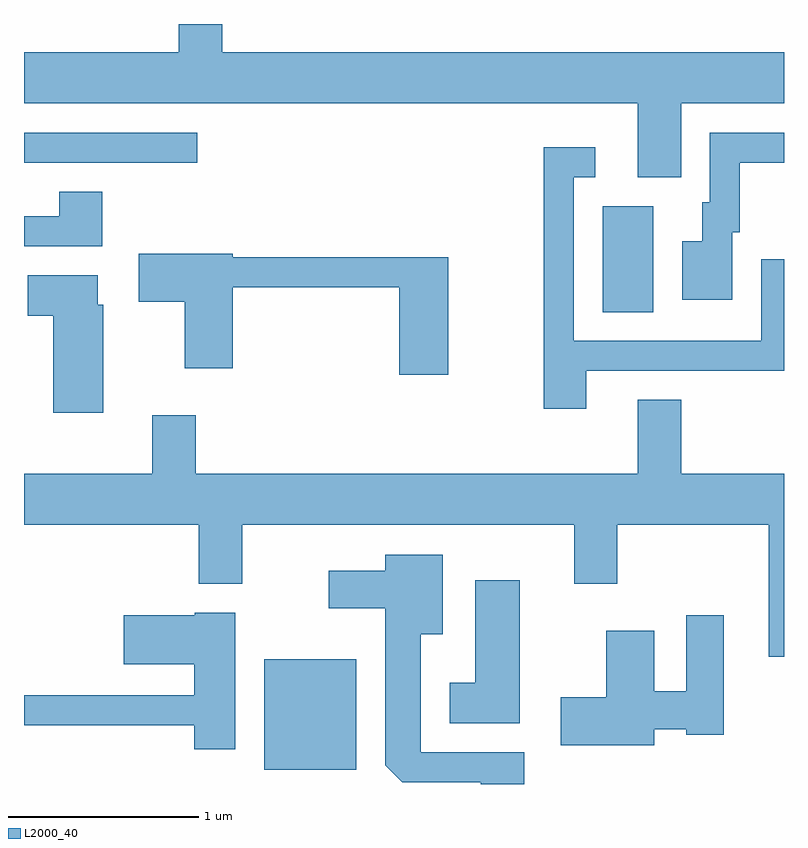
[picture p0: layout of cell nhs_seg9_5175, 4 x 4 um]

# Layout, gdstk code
import gdstk
lib = gdstk.Library(unit=1e-6, precision=1e-09)
def R(c, l, rs):  # rectangles x0, y0, x1, y1
    for r in rs: c.add(gdstk.rectangle(r[:2], r[2:], *l))
def P(c, l, *ps):  # polygons
    for p in ps: c.add(gdstk.Polygon(p, *l))
L2000_40 = (2000, 40)

nhs_seg9_5175 = lib.new_cell('nhs_seg9_5175')
R(nhs_seg9_5175, L2000_40, [(338.876,2010.506,339.359,2011.089), (340.656,2012.916,340.924,2013.474), (337.611,2013.701,338.523,2013.859)])
P(nhs_seg9_5175, L2000_40, [(341.069,2014.016),(341.611,2014.016),(341.611,2014.284),(338.654,2014.284),(338.654,2014.432),(338.426,2014.432),(338.426,2014.284),(337.611,2014.284),(337.611,2014.016),(340.841,2014.016),(340.841,2013.626),(341.069,2013.626)],
  [(341.339,2013.336),(341.379,2013.336),(341.379,2013.701),(341.611,2013.701),(341.611,2013.859),(341.221,2013.859),(341.221,2013.494),(341.181,2013.494),(341.181,2013.289),(341.076,2013.289),(341.076,2012.981),(341.339,2012.981)],
  [(340.569,2012.606),(341.611,2012.606),(341.611,2013.193),(341.491,2013.193),(341.491,2012.764),(340.504,2012.764),(340.504,2013.626),(340.618,2013.626),(340.618,2013.784),(340.346,2013.784),(340.346,2012.406),(340.569,2012.406)],
  [(338.024,2013.549),(337.796,2013.549),(337.796,2013.419),(337.611,2013.419),(337.611,2013.261),(338.024,2013.261)],
  [(339.844,2013.204),(338.709,2013.204),(338.709,2013.224),(338.216,2013.224),(338.216,2012.971),(338.456,2012.971),(338.456,2012.621),(338.709,2012.621),(338.709,2013.046),(339.586,2013.046),(339.586,2012.586),(339.844,2012.586)],
  [(338.029,2012.954),(337.999,2012.954),(337.999,2013.109),(337.631,2013.109),(337.631,2012.896),(337.766,2012.896),(337.766,2012.386),(338.029,2012.386)],
  [(341.611,2012.064),(341.069,2012.064),(341.069,2012.454),(340.841,2012.454),(340.841,2012.064),(338.514,2012.064),(338.514,2012.374),(338.286,2012.374),(338.286,2012.064),(337.611,2012.064),(337.611,2011.796),(338.531,2011.796),(338.531,2011.486),(338.759,2011.486),(338.759,2011.796),(340.506,2011.796),(340.506,2011.486),(340.734,2011.486),(340.734,2011.796),(341.531,2011.796),(341.531,2011.101),(341.611,2011.101)],
  [(340.244,2010.599),(339.699,2010.599),(339.699,2011.221),(339.814,2011.221),(339.814,2011.639),(339.511,2011.639),(339.511,2011.554),(339.216,2011.554),(339.216,2011.356),(339.511,2011.356),(339.511,2010.532),(339.602,2010.441),(340.016,2010.441),(340.016,2010.432),(340.244,2010.432)],
  [(340.219,2011.504),(339.986,2011.504),(339.986,2010.964),(339.851,2010.964),(339.851,2010.751),(340.219,2010.751)],
  [(338.724,2011.334),(338.51,2011.334),(338.51,2011.319),(338.136,2011.319),(338.136,2011.061),(338.506,2011.061),(338.506,2010.899),(337.611,2010.899),(337.611,2010.741),(338.506,2010.741),(338.506,2010.616),(338.724,2010.616)],
  [(340.929,2010.721),(341.096,2010.721),(341.096,2010.691),(341.294,2010.691),(341.294,2011.319),(341.096,2011.319),(341.096,2010.919),(340.929,2010.919),(340.929,2011.239),(340.676,2011.239),(340.676,2010.889),(340.436,2010.889),(340.436,2010.636),(340.929,2010.636)])

lib.write_gds('nhs_seg9_5175.gds')
